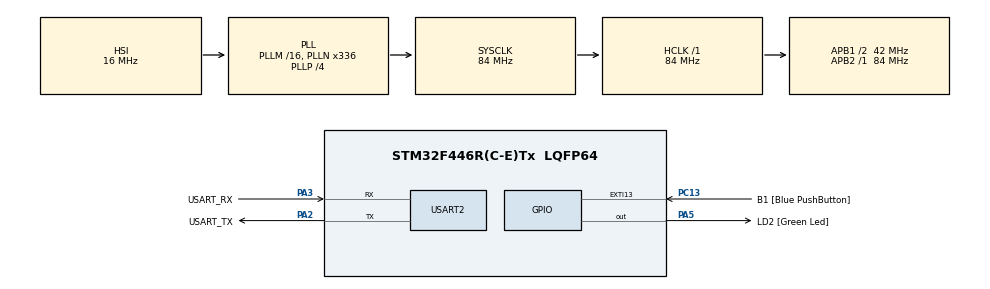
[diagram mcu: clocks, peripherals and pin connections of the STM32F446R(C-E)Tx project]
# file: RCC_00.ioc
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Mcu.Family=STM32F4
Mcu.Name=STM32F446R(C-E)Tx
Mcu.Package=LQFP64
NVIC.PriorityGroup=NVIC_PRIORITYGROUP_0
PA13.GPIO_Label=TMS
PA13.Mode=Serial_Wire
PA13.Signal=SYS_JTMS-SWDIO
PA14.GPIO_Label=TCK
PA14.Mode=Serial_Wire
PA14.Signal=SYS_JTCK-SWCLK
PA2.GPIO_Label=USART_TX
PA2.Mode=Asynchronous
PA2.Signal=USART2_TX
PA3.GPIO_Label=USART_RX
PA3.Mode=Asynchronous
PA3.Signal=USART2_RX
PA5.GPIO_Label=LD2 [Green Led]
PA5.Signal=GPIO_Output
PB3.GPIO_Label=SWO
PB3.Signal=SYS_JTDO-SWO
PC13.GPIO_Label=B1 [Blue PushButton]
PC13.GPIO_ModeDefaultEXTI=GPIO_MODE_IT_FALLING
PC13.Signal=GPXTI13
PC14-OSC32_IN.Mode=LSE-External-Oscillator
PC14-OSC32_IN.Signal=RCC_OSC32_IN
PC15-OSC32_OUT.Mode=LSE-External-Oscillator
PC15-OSC32_OUT.Signal=RCC_OSC32_OUT
PH0-OSC_IN.Mode=HSE-External-Oscillator
PH0-OSC_IN.Signal=RCC_OSC_IN
PH1-OSC_OUT.Mode=HSE-External-Oscillator
PH1-OSC_OUT.Signal=RCC_OSC_OUT
ProjectManager.HeapSize=0x200
ProjectManager.StackSize=0x400
ProjectManager.TargetToolchain=STM32CubeIDE
RCC.48MHZClocksFreq_Value=84000000
RCC.AHBFreq_Value=84000000
RCC.APB1CLKDivider=RCC_HCLK_DIV2
RCC.APB1Freq_Value=42000000
RCC.APB1TimFreq_Value=84000000
RCC.APB2Freq_Value=84000000
RCC.APB2TimFreq_Value=84000000
RCC.CortexFreq_Value=84000000
RCC.FLatency-AdvancedSettings=FLASH_LATENCY_2
RCC.HCLKFreq_Value=84000000
RCC.HSE_VALUE=8000000
RCC.HSI_VALUE=16000000
RCC.PLLN=336
RCC.PLLP=RCC_PLLP_DIV4
RCC.SYSCLKFreq_VALUE=84000000
RCC.SYSCLKSource=RCC_SYSCLKSOURCE_PLLCLK
RCC.USBFreq_Value=168000000
RCC.VCOOutputFreq_Value=336000000
USART2.VirtualMode=VM_ASYNC
board=NUCLEO-F446RE

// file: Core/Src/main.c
/* USER CODE BEGIN Header */
/**
  ******************************************************************************
  * @file           : main.c
  * @brief          : Main program body
  ******************************************************************************
  * @attention
  *
  * Copyright (c) 2022 STMicroelectronics.
  * All rights reserved.
  *
  * This software is licensed under terms that can be found in the LICENSE file
  * in the root directory of this software component.
  * If no LICENSE file comes with this software, it is provided AS-IS.
  *
  ******************************************************************************
  */
/* USER CODE END Header */
#include "main.h"

UART_HandleTypeDef huart2;

void SystemClock_Config(void);
static void MX_GPIO_Init(void);
static void MX_USART2_UART_Init(void);
/* USER CODE BEGIN PFP */
void clock50MHz(void);
/* USER CODE END PFP */

int main(void)
{
  /* USER CODE BEGIN 1 */
	uint32_t i = 0;
  /* USER CODE END 1 */

  /* MCU Configuration--------------------------------------------------------*/

  /* Reset of all peripherals, Initializes the Flash interface and the Systick. */
  HAL_Init();

  /* Configure the system clock */
  SystemClock_Config();

  /* Initialize all configured peripherals */
  MX_GPIO_Init();
  MX_USART2_UART_Init();

  /* Infinite loop */
  while (1)
  {

    /* USER CODE BEGIN 3 */
	  for(i = 0; i < 2000000; i++);
	  HAL_GPIO_TogglePin(LD2_GPIO_Port, LD2_Pin);

	 if(HAL_GPIO_ReadPin(B1_GPIO_Port, B1_Pin) == GPIO_PIN_RESET)
	 {
		  clock50MHz();
	 }
  }
  /* USER CODE END 3 */
}

void SystemClock_Config(void)
{
  RCC_OscInitTypeDef RCC_OscInitStruct = {0};
  RCC_ClkInitTypeDef RCC_ClkInitStruct = {0};

  /** Configure the main internal regulator output voltage
  */
  __HAL_RCC_PWR_CLK_ENABLE();
  __HAL_PWR_VOLTAGESCALING_CONFIG(PWR_REGULATOR_VOLTAGE_SCALE3);

  /** Initializes the RCC Oscillators according to the specified parameters
  * in the RCC_OscInitTypeDef structure.
  */
  RCC_OscInitStruct.OscillatorType = RCC_OSCILLATORTYPE_HSI;
  RCC_OscInitStruct.HSIState = RCC_HSI_ON;
  RCC_OscInitStruct.HSICalibrationValue = RCC_HSICALIBRATION_DEFAULT;
  RCC_OscInitStruct.PLL.PLLState = RCC_PLL_ON;
  RCC_OscInitStruct.PLL.PLLSource = RCC_PLLSOURCE_HSI;
  RCC_OscInitStruct.PLL.PLLM = 16;
  RCC_OscInitStruct.PLL.PLLN = 336;
  RCC_OscInitStruct.PLL.PLLP = RCC_PLLP_DIV4;
  RCC_OscInitStruct.PLL.PLLQ = 2;
  RCC_OscInitStruct.PLL.PLLR = 2;
  if (HAL_RCC_OscConfig(&RCC_OscInitStruct) != HAL_OK)
  {
    Error_Handler();
  }

  /** Initializes the CPU, AHB and APB buses clocks
  */
  RCC_ClkInitStruct.ClockType = RCC_CLOCKTYPE_HCLK|RCC_CLOCKTYPE_SYSCLK
                              |RCC_CLOCKTYPE_PCLK1|RCC_CLOCKTYPE_PCLK2;
  RCC_ClkInitStruct.SYSCLKSource = RCC_SYSCLKSOURCE_PLLCLK;
  RCC_ClkInitStruct.AHBCLKDivider = RCC_SYSCLK_DIV1;
  RCC_ClkInitStruct.APB1CLKDivider = RCC_HCLK_DIV2;
  RCC_ClkInitStruct.APB2CLKDivider = RCC_HCLK_DIV1;

  if (HAL_RCC_ClockConfig(&RCC_ClkInitStruct, FLASH_LATENCY_2) != HAL_OK)
  {
    Error_Handler();
  }
}

static void MX_USART2_UART_Init(void)
{

  huart2.Instance = USART2;
  huart2.Init.BaudRate = 115200;
  huart2.Init.WordLength = UART_WORDLENGTH_8B;
  huart2.Init.StopBits = UART_STOPBITS_1;
  huart2.Init.Parity = UART_PARITY_NONE;
  huart2.Init.Mode = UART_MODE_TX_RX;
  huart2.Init.HwFlowCtl = UART_HWCONTROL_NONE;
  huart2.Init.OverSampling = UART_OVERSAMPLING_16;
  if (HAL_UART_Init(&huart2) != HAL_OK)
  {
    Error_Handler();
  }

}

static void MX_GPIO_Init(void)
{
  GPIO_InitTypeDef GPIO_InitStruct = {0};

  /* GPIO Ports Clock Enable */
  __HAL_RCC_GPIOC_CLK_ENABLE();
  __HAL_RCC_GPIOH_CLK_ENABLE();
  __HAL_RCC_GPIOA_CLK_ENABLE();
  __HAL_RCC_GPIOB_CLK_ENABLE();

  /*Configure GPIO pin Output Level */
  HAL_GPIO_WritePin(LD2_GPIO_Port, LD2_Pin, GPIO_PIN_RESET);

  /*Configure GPIO pin : B1_Pin */
  GPIO_InitStruct.Pin = B1_Pin;
  GPIO_InitStruct.Mode = GPIO_MODE_IT_FALLING;
  GPIO_InitStruct.Pull = GPIO_NOPULL;
  HAL_GPIO_Init(B1_GPIO_Port, &GPIO_InitStruct);

  /*Configure GPIO pin : LD2_Pin */
  GPIO_InitStruct.Pin = LD2_Pin;
  GPIO_InitStruct.Mode = GPIO_MODE_OUTPUT_PP;
  GPIO_InitStruct.Pull = GPIO_NOPULL;
  GPIO_InitStruct.Speed = GPIO_SPEED_FREQ_LOW;
  HAL_GPIO_Init(LD2_GPIO_Port, &GPIO_InitStruct);

}

/* USER CODE BEGIN 4 */
void clock50MHz(void)
{
	// HSI / PLLM * PLLN / PLLP / AHB Prescaler
	//50 MHz = 16 MHz / 16 * 300 / 6 / 1
	//Liga o HSI
	RCC->CR |= 1<<0;

	//Espera estabilizar o clock
	while(!(RCC->CR & (1<<1)));

	//Troca a fonte de clock de
	//PLLCLK para HSI de 16 MHz
	//sem PLL
	RCC->CFGR &= ~0x00000003;//SW = 0b00

	//Desliga o main PLL
	RCC->CR &= ~(1<<24);

	//PLL Source Mux = HSI
	RCC->PLLCFGR &= ~(1<<22);

	//PLLM = 16
	RCC->PLLCFGR &= ~(0x3F<<0);
	RCC->PLLCFGR |= (16<<0);

	//PLLN = 300
	RCC->PLLCFGR &= ~(0x3FF<<6);
	RCC->PLLCFGR |= (300<<6);

	//PLLP = 6
	RCC->PLLCFGR &= ~(0x3<<16);
	RCC->PLLCFGR |= (2<<16);

	//AHB Prescaller = 1
	RCC->CFGR &= ~(0xF<<4);

	//Liga o main PLL
	RCC->CR |= (1<<24);

	//Espera estabilizar o main PLL
	while(!(RCC->CR & (1<<25)));

	//System Clock Mux = PLLP
	RCC->CFGR &= ~(0x3<<0);
	RCC->CFGR |= (1<<1);
}
/* USER CODE END 4 */

void Error_Handler(void)
{
  __disable_irq();
  while (1)
  {
  }
}
